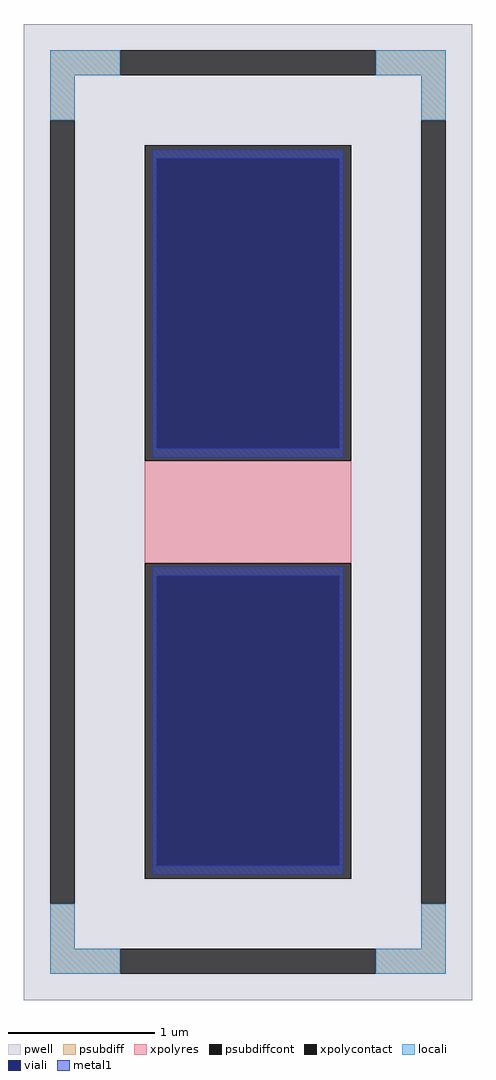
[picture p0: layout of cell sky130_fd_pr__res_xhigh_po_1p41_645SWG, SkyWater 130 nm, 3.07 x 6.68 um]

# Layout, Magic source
magic
tech sky130A
magscale 1 2
<< pwell >>
rect -307 -668 307 668
<< psubdiff >>
rect -271 598 -175 632
rect 175 598 271 632
rect -271 536 -237 598
rect 237 536 271 598
rect -271 -598 -237 -536
rect 237 -598 271 -536
rect -271 -632 -175 -598
rect 175 -632 271 -598
<< psubdiffcont >>
rect -175 598 175 632
rect -271 -536 -237 536
rect 237 -536 271 536
rect -175 -632 175 -598
<< xpolycontact >>
rect -141 70 141 502
rect -141 -502 141 -70
<< xpolyres >>
rect -141 -70 141 70
<< locali >>
rect -271 598 -175 632
rect 175 598 271 632
rect -271 536 -237 598
rect 237 536 271 598
rect -271 -598 -237 -536
rect 237 -598 271 -536
rect -271 -632 -175 -598
rect 175 -632 271 -598
<< viali >>
rect -125 87 125 484
rect -125 -484 125 -87
<< metal1 >>
rect -131 484 131 496
rect -131 87 -125 484
rect 125 87 131 484
rect -131 75 131 87
rect -131 -87 131 -75
rect -131 -484 -125 -87
rect 125 -484 131 -87
rect -131 -496 131 -484
<< properties >>
string FIXED_BBOX -254 -615 254 615
string gencell sky130_fd_pr__res_xhigh_po_1p41
string library sky130
string parameters w 1.410 l 0.861 m 1 nx 1 wmin 1.410 lmin 0.50 rho 2000 val 1.488k dummy 0 dw 0.0 term 188.2 sterm 0.0 caplen 0 wmax 1.410 guard 1 glc 1 grc 1 gtc 1 gbc 1 compatible {sky130_fd_pr__res_xhigh_po_0p35  sky130_fd_pr__res_xhigh_po_0p69 sky130_fd_pr__res_xhigh_po_1p41  sky130_fd_pr__res_xhigh_po_2p85 sky130_fd_pr__res_xhigh_po_5p73} snake 0 full_metal 1 n_guard 0 hv_guard 0 vias 1 viagb 0 viagt 0 viagl 0 viagr 0
<< end >>
